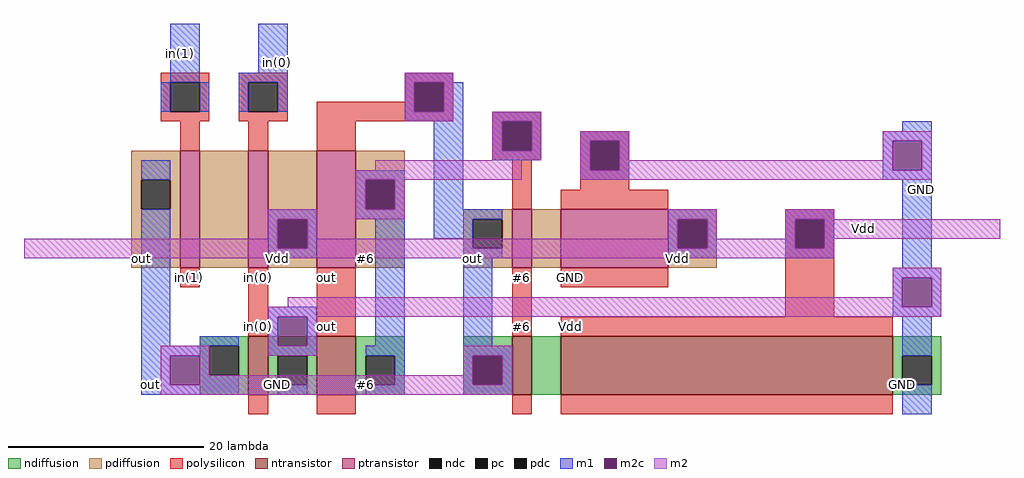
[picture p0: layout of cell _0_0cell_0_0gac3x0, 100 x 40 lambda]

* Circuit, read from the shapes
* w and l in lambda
.subckt _0_0cell_0_0gac3x0 GND Vdd in(1) out in(0)
M1 GND in(0) out VSUBS nfet w=6 l=2
M2 #6 out GND VSUBS nfet w=6 l=4
M3 n1 #6 out VSUBS nfet w=6 l=2
M4 GND Vdd n1 VSUBS nfet w=6 l=34
M5 n2 in(1) out NWELL pfet w=12 l=2
M6 Vdd in(0) n2 NWELL pfet w=12 l=2
M7 #6 out Vdd NWELL pfet w=12 l=4
M8 n3 #6 out NWELL pfet w=6 l=2
M9 Vdd GND n3 NWELL pfet w=6 l=11
.ends

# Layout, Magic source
magic
tech sky130l
<< ndiffusion >>
rect 12 11 17 12
rect 12 8 13 11
rect 16 8 17 11
rect 12 6 17 8
rect 19 10 24 12
rect 19 7 20 10
rect 23 7 24 10
rect 19 6 24 7
rect 28 10 33 12
rect 28 7 29 10
rect 32 7 33 10
rect 28 6 33 7
rect 39 10 44 12
rect 39 7 40 10
rect 43 7 44 10
rect 39 6 44 7
rect 46 6 49 12
rect 83 10 88 12
rect 83 7 84 10
rect 87 7 88 10
rect 83 6 88 7
<< ndc >>
rect 13 8 16 11
rect 20 7 23 10
rect 29 7 32 10
rect 40 7 43 10
rect 84 7 87 10
<< ntransistor >>
rect 17 6 19 12
rect 24 6 28 12
rect 44 6 46 12
rect 49 6 83 12
<< pdiffusion >>
rect 5 28 10 31
rect 5 25 6 28
rect 9 25 10 28
rect 5 19 10 25
rect 12 19 17 31
rect 19 24 24 31
rect 19 21 20 24
rect 23 21 24 24
rect 19 19 24 21
rect 28 28 33 31
rect 28 25 29 28
rect 32 25 33 28
rect 28 19 33 25
rect 39 24 44 25
rect 39 21 40 24
rect 43 21 44 24
rect 39 19 44 21
rect 46 19 49 25
rect 60 24 65 25
rect 60 21 61 24
rect 64 21 65 24
rect 60 19 65 21
<< pdc >>
rect 6 25 9 28
rect 20 21 23 24
rect 29 25 32 28
rect 40 21 43 24
rect 61 21 64 24
<< ptransistor >>
rect 10 19 12 31
rect 17 19 19 31
rect 24 19 28 31
rect 44 19 46 25
rect 49 19 60 25
<< polysilicon >>
rect 8 38 13 39
rect 8 35 9 38
rect 12 35 13 38
rect 8 34 13 35
rect 16 38 21 39
rect 16 35 17 38
rect 20 35 21 38
rect 33 38 38 39
rect 33 36 34 38
rect 16 34 21 35
rect 24 35 34 36
rect 37 35 38 38
rect 24 34 38 35
rect 42 34 47 35
rect 10 31 12 34
rect 17 31 19 34
rect 24 31 28 34
rect 42 31 43 34
rect 46 31 47 34
rect 42 30 47 31
rect 51 32 56 33
rect 44 25 46 30
rect 51 29 52 32
rect 55 29 56 32
rect 51 27 56 29
rect 49 25 60 27
rect 72 24 77 25
rect 72 21 73 24
rect 76 21 77 24
rect 10 17 12 19
rect 17 12 19 19
rect 24 12 28 19
rect 44 12 46 19
rect 49 17 60 19
rect 72 14 77 21
rect 49 12 83 14
rect 17 4 19 6
rect 24 4 28 6
rect 44 4 46 6
rect 49 4 83 6
<< pc >>
rect 9 35 12 38
rect 17 35 20 38
rect 34 35 37 38
rect 43 31 46 34
rect 52 29 55 32
rect 73 21 76 24
<< m1 >>
rect 9 38 12 44
rect 18 39 21 44
rect 16 38 21 39
rect 8 35 9 38
rect 12 35 13 38
rect 16 35 17 38
rect 20 35 21 38
rect 33 38 38 39
rect 33 35 34 38
rect 37 35 39 38
rect 33 34 39 35
rect 6 28 9 30
rect 28 28 33 29
rect 28 25 29 28
rect 32 25 33 28
rect 6 11 9 25
rect 19 24 24 25
rect 28 24 33 25
rect 19 21 20 24
rect 23 21 24 24
rect 19 20 24 21
rect 19 14 24 15
rect 12 11 16 12
rect 6 10 13 11
rect 6 7 9 10
rect 12 8 13 10
rect 19 11 20 14
rect 23 11 24 14
rect 30 11 33 24
rect 36 25 39 34
rect 42 34 47 35
rect 42 31 43 34
rect 46 31 47 34
rect 84 33 87 34
rect 42 30 47 31
rect 51 32 56 33
rect 51 29 52 32
rect 55 29 56 32
rect 51 28 56 29
rect 82 32 87 33
rect 82 29 83 32
rect 86 29 87 32
rect 82 28 87 29
rect 36 24 43 25
rect 36 22 40 24
rect 19 10 24 11
rect 29 10 33 11
rect 12 7 16 8
rect 6 6 16 7
rect 20 6 23 7
rect 32 7 33 10
rect 29 6 33 7
rect 39 21 40 22
rect 39 20 43 21
rect 60 24 65 25
rect 60 21 61 24
rect 64 21 65 24
rect 60 20 65 21
rect 72 24 77 25
rect 72 21 73 24
rect 76 21 77 24
rect 72 20 77 21
rect 39 11 42 20
rect 84 19 87 28
rect 83 18 88 19
rect 83 15 84 18
rect 87 15 88 18
rect 83 14 88 15
rect 39 10 44 11
rect 39 7 40 10
rect 43 7 44 10
rect 39 6 44 7
rect 84 10 87 14
rect 84 4 87 7
<< m2c >>
rect 34 35 37 38
rect 29 25 32 28
rect 20 21 23 24
rect 9 7 12 10
rect 20 11 23 14
rect 43 31 46 34
rect 52 29 55 32
rect 83 29 86 32
rect 61 21 64 24
rect 73 21 76 24
rect 84 15 87 18
rect 40 7 43 10
<< m2 >>
rect 33 38 38 39
rect 33 35 34 38
rect 37 35 38 38
rect 33 34 38 35
rect 42 34 47 35
rect 42 31 43 34
rect 46 31 47 34
rect 42 30 47 31
rect 51 32 56 33
rect 30 29 45 30
rect 28 28 45 29
rect 51 29 52 32
rect 55 30 56 32
rect 82 32 87 33
rect 82 30 83 32
rect 55 29 83 30
rect 86 29 87 32
rect 51 28 87 29
rect 28 25 29 28
rect 32 25 33 28
rect 19 24 24 25
rect 28 24 33 25
rect 60 24 65 25
rect 19 22 20 24
rect -6 21 20 22
rect 23 22 24 24
rect 60 22 61 24
rect 23 21 61 22
rect 64 22 65 24
rect 72 24 77 25
rect 72 22 73 24
rect 64 21 73 22
rect 76 22 94 24
rect 76 21 77 22
rect -6 20 77 21
rect 83 18 88 19
rect 83 16 84 18
rect 21 15 84 16
rect 87 15 88 18
rect 19 14 88 15
rect 19 11 20 14
rect 23 11 24 14
rect 8 10 13 11
rect 19 10 24 11
rect 39 10 44 11
rect 8 7 9 10
rect 12 8 13 10
rect 39 8 40 10
rect 12 7 40 8
rect 43 7 44 10
rect 8 6 44 7
<< labels >>
rlabel ndiffusion 29 7 29 7 3 #6
rlabel pdiffusion 29 20 29 20 3 #6
rlabel polysilicon 25 13 25 13 3 out
rlabel polysilicon 25 18 25 18 3 out
rlabel ndiffusion 20 7 20 7 3 GND
rlabel pdiffusion 20 20 20 20 3 Vdd
rlabel polysilicon 18 13 18 13 3 in(0)
rlabel polysilicon 18 18 18 18 3 in(0)
rlabel polysilicon 11 18 11 18 3 in(1)
rlabel pdiffusion 6 20 6 20 3 out
rlabel ndiffusion 84 7 84 7 3 GND
rlabel pdiffusion 61 20 61 20 3 Vdd
rlabel polysilicon 50 13 50 13 3 Vdd
rlabel polysilicon 50 18 50 18 3 GND
rlabel polysilicon 45 13 45 13 3 #6
rlabel polysilicon 45 18 45 18 3 #6
rlabel pdiffusion 40 20 40 20 3 out
rlabel m1 7 7 7 7 3 out
port 4 e
rlabel m1 86 27 86 27 3 GND
port 1 e
rlabel m2 80 23 80 23 3 Vdd
port 2 e
rlabel m1 20 40 20 40 3 in(0)
port 5 e
rlabel m1 10 41 10 41 3 in(1)
port 3 e
<< end >>
